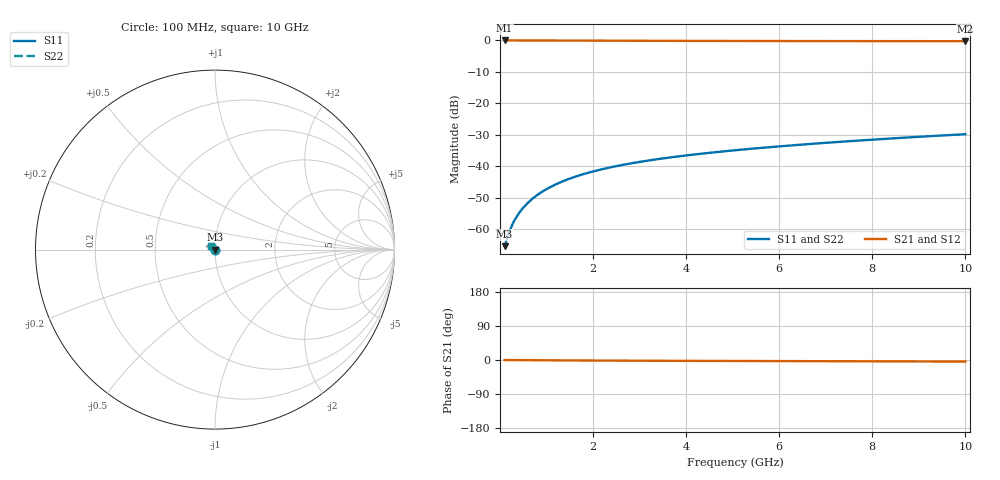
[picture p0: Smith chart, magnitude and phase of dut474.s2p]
! Touchstone file exported from HFSS 2024.1.0
!  File:  C:/UserFiles/LocalFiles/RDL_TSV_Batchsim/temp_TSV1_474_1779698721.aedt
!  Generated:  04:53:01 PM May 25, 2026
!  Design:  TSV1
!  Project:  temp_TSV1_474_1779698721
!  Setup:  Setup1
!  Solution:  Sweep
! Variables:
!  dtsv = 5.95um
!  hbump = 3um
!  htsv = 55.26um
!  lrdl = 252.1521522um
!  p = 40
!  p1 = 56um
!  t = 500um
!  trdl = 3um
!  wrdl = 24.89489489um
# GHz S MA R 50.000000
! Terminal data exported
! Port[1] = TSV22_T1
! Port[2] = TSV22_T2
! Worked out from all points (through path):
!   100 points, 100 MHz to 10 GHz, reference 50 ohm
!   highest |S21| = 0.00 dB at 100 MHz (marker M1); lowest = -0.2 dB at 10 GHz (marker M2)
!   lowest |S11| = -65.4 dB at 100 MHz (marker M3), VSWR 1.00, Z = 50 - j0.0445 ohm
!   |S11| at or under -10 dB: start of sweep to end of sweep
!   |S22| runs from -65.4 to -29.8 dB; largest |S21 - S12| = 4.1e-15
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0.1  0.0005356 -56.2  0.9997 -0.1  0.9997 -0.1  0.0005356 -56.2
! Gamma 0 0 0 0
! Port Impedance 50 0 50 0
0.2  0.0009181 -75.5  0.9996 -0.2  0.9996 -0.2  0.0009181 -75.5
0.3  0.001334 -84.9  0.9995 -0.2  0.9995 -0.2  0.001334 -84.9
0.4  0.00176 -91.0  0.9993 -0.3  0.9993 -0.3  0.00176 -91.0
0.5  0.00219 -95.8  0.9991 -0.4  0.9991 -0.4  0.00219 -95.8
0.6  0.002621 -99.8  0.9989 -0.5  0.9989 -0.5  0.002621 -99.8
0.7  0.00305 -103.4  0.9986 -0.6  0.9986 -0.6  0.00305 -103.4
0.8  0.003477 -106.7  0.9983 -0.6  0.9983 -0.6  0.003477 -106.7
0.9  0.003901 -109.8  0.998 -0.7  0.998 -0.7  0.003901 -109.8
1.1  0.004737 -115.7  0.9972 -0.8  0.9972 -0.8  0.004737 -115.7
1.4  0.005955 -123.8  0.9959 -1.1  0.9959 -1.1  0.005955 -123.8
1.6  0.006742 -128.9  0.995 -1.2  0.995 -1.2  0.006742 -128.9
1.8  0.007508 -133.7  0.994 -1.3  0.994 -1.3  0.007508 -133.7
2.1  0.00862 -140.6  0.9925 -1.5  0.9925 -1.5  0.00862 -140.6
2.5  0.01003 -149.1  0.9905 -1.7  0.9905 -1.7  0.01003 -149.1
2.9  0.01138 -156.9  0.9886 -1.8  0.9886 -1.8  0.01138 -156.9
3.4  0.01299 -165.7  0.9863 -2.0  0.9863 -2.0  0.01299 -165.7
4.2  0.01543 -177.9  0.9832 -2.3  0.9832 -2.3  0.01543 -177.9
5.1  0.01808 170.8  0.9805 -2.6  0.9805 -2.6  0.01808 170.8
6.7  0.02268 155.4  0.977 -3.1  0.977 -3.1  0.02268 155.4
8.4  0.0276 143.7  0.9746 -3.6  0.9746 -3.6  0.0276 143.7
10  0.0323 135.4  0.973 -4.1  0.973 -4.1  0.0323 135.4
